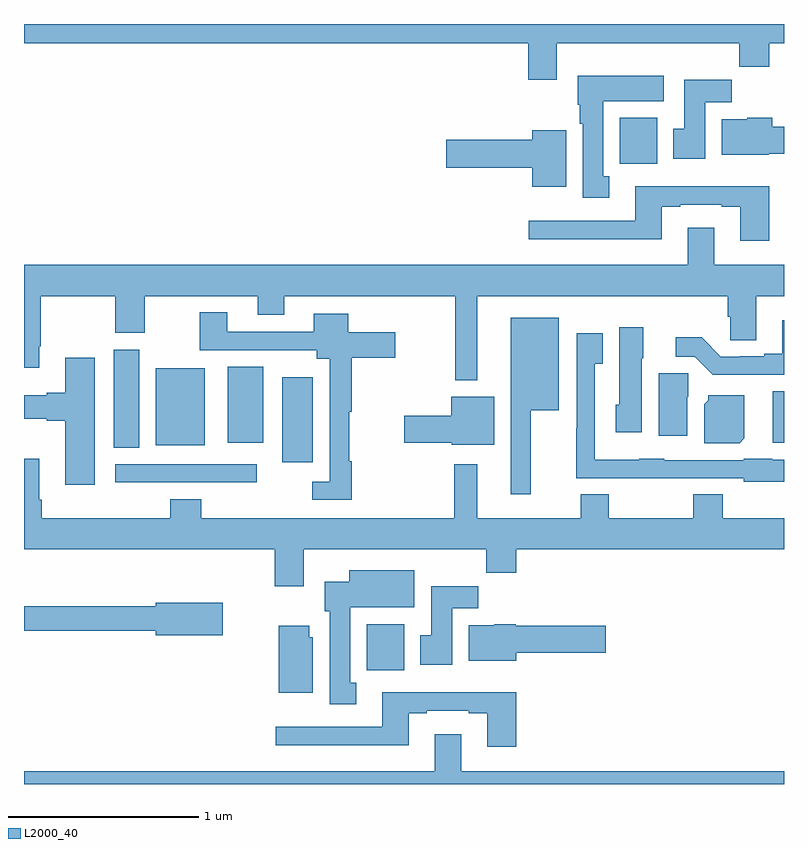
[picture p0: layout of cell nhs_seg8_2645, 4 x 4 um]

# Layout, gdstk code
import gdstk
lib = gdstk.Library(unit=1e-6, precision=1e-09)
def R(c, l, rs):  # rectangles x0, y0, x1, y1
    for r in rs: c.add(gdstk.rectangle(r[:2], r[2:], *l))
def P(c, l, *ps):  # polygons
    for p in ps: c.add(gdstk.Polygon(p, *l))
L2000_40 = (2000, 40)

nhs_seg8_2645 = lib.new_cell('nhs_seg8_2645')
R(nhs_seg8_2645, L2000_40, [(278.804,1146.5,279.001,1146.742), (277.479,1147.488,278.224,1147.584), (278.36,1147.593,278.521,1148.041), (277.472,1147.669,277.606,1148.185), (277.694,1147.682,277.951,1148.089), (278.072,1147.697,278.26,1148.095), (280.94,1147.697,281,1147.966), (280.136,1149.164,280.333,1149.406)])
P(nhs_seg8_2645, L2000_40, [(279.805,1149.8),(280.765,1149.8),(280.765,1149.676),(280.922,1149.676),(280.922,1149.8),(281,1149.8),(281,1149.9),(277,1149.9),(277,1149.8),(279.653,1149.8),(279.653,1149.606),(279.805,1149.606)],
  [(280.081,1149.098),(280.048,1149.098),(280.048,1149.494),(280.366,1149.494),(280.366,1149.628),(279.914,1149.628),(279.914,1149.474),(279.926,1149.474),(279.926,1149.374),(279.941,1149.374),(279.941,1148.985),(280.081,1148.985)],
  [(280.585,1149.488),(280.724,1149.488),(280.724,1149.607),(280.475,1149.607),(280.475,1149.348),(280.418,1149.348),(280.418,1149.192),(280.585,1149.192)],
  [(280.92,1149.218),(281,1149.218),(281,1149.36),(280.937,1149.36),(280.937,1149.406),(280.806,1149.406),(280.806,1149.4),(280.673,1149.4),(280.673,1149.212),(280.92,1149.212)],
  [(279.853,1149.34),(279.674,1149.34),(279.674,1149.29),(279.222,1149.29),(279.222,1149.143),(279.674,1149.143),(279.674,1149.044),(279.853,1149.044)],
  [(280.922,1149.046),(280.217,1149.046),(280.217,1148.865),(279.657,1148.865),(279.657,1148.768),(280.357,1148.768),(280.357,1148.937),(280.453,1148.937),(280.453,1148.949),(280.673,1148.949),(280.673,1148.937),(280.769,1148.937),(280.769,1148.76),(280.922,1148.76)],
  [(279.385,1148.468),(280.703,1148.468),(280.703,1148.358),(280.716,1148.358),(280.716,1148.236),(280.855,1148.236),(280.855,1148.468),(281,1148.468),(281,1148.632),(280.633,1148.632),(280.633,1148.827),(280.493,1148.827),(280.493,1148.632),(277,1148.632),(277,1148.091),(277.081,1148.091),(277.081,1148.203),(277.089,1148.203),(277.089,1148.468),(277.48,1148.468),(277.48,1148.274),(277.635,1148.274),(277.635,1148.468),(278.231,1148.468),(278.231,1148.369),(278.371,1148.369),(278.371,1148.468),(279.271,1148.468),(279.271,1148.024),(279.385,1148.024)],
  [(278.726,1147.598),(278.711,1147.598),(278.711,1147.86),(278.726,1147.86),(278.726,1148.144),(278.953,1148.144),(278.953,1148.278),(278.707,1148.278),(278.707,1148.374),(278.525,1148.374),(278.525,1148.28),(278.071,1148.28),(278.071,1148.383),(277.924,1148.383),(277.924,1148.184),(278.54,1148.184),(278.54,1148.138),(278.61,1148.138),(278.61,1147.491),(278.517,1147.491),(278.517,1147.395),(278.726,1147.395)],
  [(279.667,1147.868),(279.814,1147.868),(279.814,1148.353),(279.563,1148.353),(279.563,1147.425),(279.667,1147.425)],
  [(281,1148.341),(280.991,1148.341),(280.991,1148.164),(280.895,1148.164),(280.895,1148.151),(280.768,1148.151),(280.768,1148.148),(280.668,1148.148),(280.566,1148.251),(280.431,1148.251),(280.431,1148.148),(280.53,1148.148),(280.624,1148.054),(281,1148.054)],
  [(280.252,1148.142),(280.258,1148.142),(280.258,1148.305),(280.133,1148.305),(280.133,1147.896),(280.115,1147.896),(280.115,1147.752),(280.252,1147.752)],
  [(281,1147.606),(280.938,1147.606),(280.938,1147.612),(280.788,1147.612),(280.788,1147.605),(280.371,1147.605),(280.371,1147.612),(280.239,1147.612),(280.239,1147.606),(280.005,1147.606),(280.005,1148.111),(280.045,1148.111),(280.045,1148.272),(279.909,1148.272),(279.909,1147.772),(279.907,1147.772),(279.907,1147.509),(280.139,1147.509),(280.139,1147.508),(280.371,1147.508),(280.371,1147.509),(280.788,1147.509),(280.788,1147.49),(281,1147.49)],
  [(277.372,1148.143),(277.217,1148.143),(277.217,1147.958),(277.121,1147.958),(277.121,1147.945),(277,1147.945),(277,1147.823),(277.121,1147.823),(277.121,1147.811),(277.217,1147.811),(277.217,1147.476),(277.372,1147.476)],
  [(280.492,1147.938),(280.496,1147.938),(280.496,1148.061),(280.34,1148.061),(280.34,1147.734),(280.492,1147.734)],
  [(280.792,1147.72),(280.792,1147.945),(280.602,1147.945),(280.602,1147.92),(280.58,1147.898),(280.58,1147.694),(280.766,1147.694)],
  [(279.475,1147.939),(279.248,1147.939),(279.248,1147.838),(279,1147.838),(279,1147.696),(279.252,1147.696),(279.252,1147.685),(279.475,1147.685)],
  [(278.473,1147.136),(279.433,1147.136),(279.433,1147.012),(279.59,1147.012),(279.59,1147.136),(281,1147.136),(281,1147.3),(280.677,1147.3),(280.677,1147.424),(280.522,1147.424),(280.522,1147.3),(280.077,1147.3),(280.077,1147.424),(279.929,1147.424),(279.929,1147.3),(279.385,1147.3),(279.385,1147.582),(279.264,1147.582),(279.264,1147.3),(277.934,1147.3),(277.934,1147.399),(277.769,1147.399),(277.769,1147.3),(277.094,1147.3),(277.094,1147.396),(277.081,1147.396),(277.081,1147.612),(277,1147.612),(277,1147.136),(278.321,1147.136),(278.321,1146.942),(278.473,1146.942)],
  [(278.749,1146.434),(278.716,1146.434),(278.716,1146.83),(279.055,1146.83),(279.055,1147.024),(278.711,1147.024),(278.711,1146.964),(278.582,1146.964),(278.582,1146.81),(278.609,1146.81),(278.609,1146.321),(278.749,1146.321)],
  [(279.253,1146.824),(279.392,1146.824),(279.392,1146.942),(279.143,1146.942),(279.143,1146.684),(279.086,1146.684),(279.086,1146.528),(279.253,1146.528)],
  [(278.047,1146.853),(277.694,1146.853),(277.694,1146.835),(277,1146.835),(277,1146.706),(277.694,1146.706),(277.694,1146.683),(278.047,1146.683)],
  [(279.592,1146.59),(280.063,1146.59),(280.063,1146.732),(279.588,1146.732),(279.588,1146.742),(279.474,1146.742),(279.474,1146.736),(279.341,1146.736),(279.341,1146.548),(279.592,1146.548)],
  [(278.521,1146.672),(278.5,1146.672),(278.5,1146.733),(278.342,1146.733),(278.342,1146.38),(278.521,1146.38)],
  [(279.59,1146.382),(278.885,1146.382),(278.885,1146.201),(278.325,1146.201),(278.325,1146.104),(279.025,1146.104),(279.025,1146.273),(279.121,1146.273),(279.121,1146.285),(279.341,1146.285),(279.341,1146.273),(279.437,1146.273),(279.437,1146.096),(279.59,1146.096)],
  [(281,1145.968),(279.301,1145.968),(279.301,1146.163),(279.161,1146.163),(279.161,1145.968),(277,1145.968),(277,1145.9),(281,1145.9)])

lib.write_gds('nhs_seg8_2645.gds')
